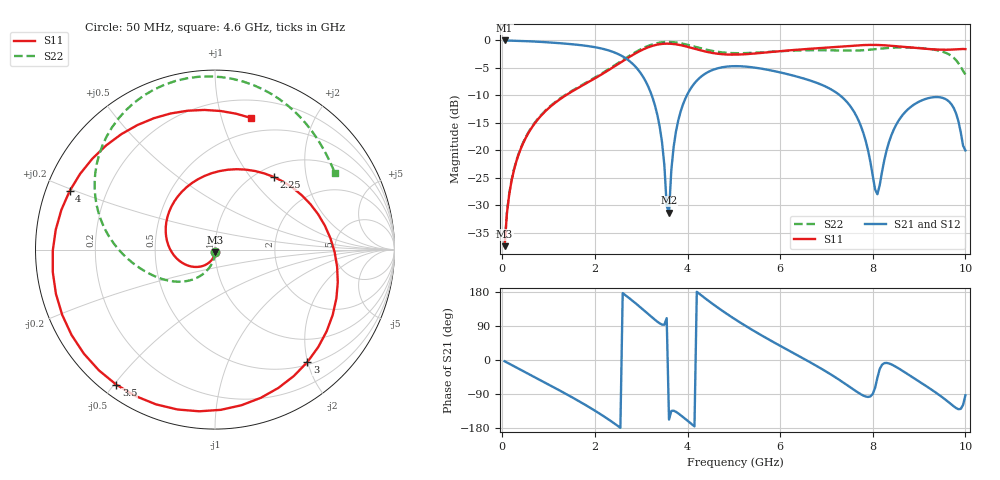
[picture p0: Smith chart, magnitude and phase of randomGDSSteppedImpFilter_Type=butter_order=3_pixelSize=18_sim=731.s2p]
! freq	dB(S11)	phase(S11)	dB(S12)	phase(S12)
!  dB(S21)	phase(S21)	dB(S22)	phase(S22)
!S-par simulation data
#  GHz  S  DB  R 50
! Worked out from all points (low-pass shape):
!   200 points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, 50 MHz to 10 GHz, reference 50 ohm
!   highest |S21| = -0.02 dB at 50 MHz (marker M1); lowest = -31.4 dB at 3.6 GHz (marker M2)
!   |S21| within 3 dB of the highest: start of sweep to 2.618 GHz
!   lowest |S11| = -37.5 dB at 50 MHz (marker M3), VSWR 1.03, Z = 50.1 - j1.34 ohm
!   |S11| at or under -10 dB: start of sweep to 1.373 GHz
!   |S22| runs from -37.4 to -0.3 dB; largest |S21 - S12| = 0
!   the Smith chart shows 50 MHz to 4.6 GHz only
!   S11 on the Smith chart (normalised r, x): 50 MHz: 1.00, -0.03; 2.25 GHz: 1.19, +1.32; 3 GHz: 0.54, -1.99; 3.5 GHz: 0.04, -0.51; 4 GHz: 0.07, +0.19; 4.6 GHz: 0.36, +1.25
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0.05  -37.48 -86.0  -0.02 -3.3  -0.02 -3.3  -37.43 -84.3
0.2  -25.57 -104.6  -0.05 -13.0  -0.05 -13.0  -25.46 -96.8
0.5  -17.86 -131.9  -0.14 -32.4  -0.14 -32.4  -17.74 -112.0
1.75  -8.12 109.0  -0.93 -115.4  -0.93 -115.4  -7.99 -161.3
2.25  -5.66 50.8  -1.72 -153.3  -1.72 -153.3  -5.49 -179.4
3  -1.82 -50.6  -6.12 137.2  -6.12 137.2  -1.58 140.8
3.4  -0.70 -110.8  -15.77 96.6  -15.77 96.6  -0.41 111.0
3.5  -0.61 -126.2  -22.78 93.2  -22.78 93.2  -0.31 103.2
3.6  -0.61 -141.6  -31.39 -157.3  -31.39 -157.3  -0.29 95.4
3.75  -0.73 -164.5  -16.61 -136.7  -16.61 -136.7  -0.39 84.1
4  -1.18 158.1  -9.77 -160.2  -9.77 -160.2  -0.81 66.6
4.6  -2.38 74.7  -5.21 142.9  -5.21 142.9  -2.02 32.5
5.05  -2.60 21.8  -4.70 105.6  -4.70 105.6  -2.34 10.1
5.9  -2.04 -52.7  -5.65 44.2  -5.65 44.2  -2.03 -38.3
6.7  -1.50 -103.2  -7.46 -9.6  -7.46 -9.6  -1.80 -96.6
7.55  -0.99 -149.2  -12.40 -75.0  -12.40 -75.0  -1.87 165.8
8.1  -0.84 178.9  -28.02 -46.8  -28.02 -46.8  -1.57 72.2
8.35  -0.96 163.8  -18.53 -9.1  -18.53 -9.1  -1.38 31.9
8.75  -1.26 139.2  -12.63 -37.0  -12.63 -37.0  -1.29 -20.5
9.35  -1.66 99.3  -10.33 -85.0  -10.33 -85.0  -1.74 -83.9
9.8  -1.63 64.4  -13.33 -126.8  -13.33 -126.8  -3.62 -155.7
10  -1.60 45.2  -20.04 -93.2  -20.04 -93.2  -6.21 126.3
